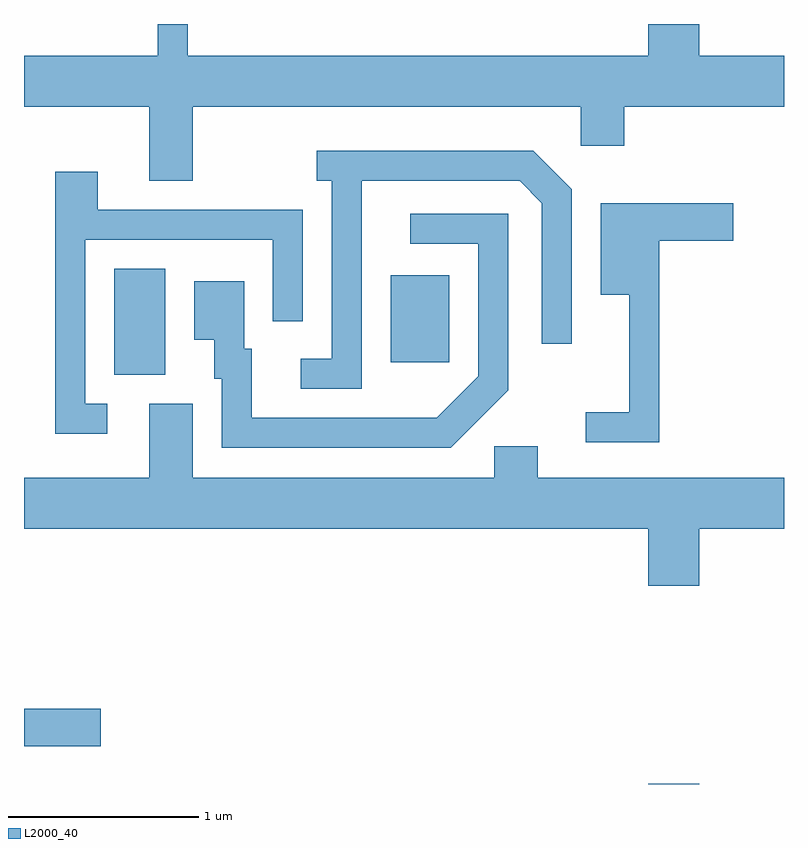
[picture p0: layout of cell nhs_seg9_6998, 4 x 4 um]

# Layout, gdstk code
import gdstk
lib = gdstk.Library(unit=1e-6, precision=1e-09)
def R(c, l, rs):  # rectangles x0, y0, x1, y1
    for r in rs: c.add(gdstk.rectangle(r[:2], r[2:], *l))
def P(c, l, *ps):  # polygons
    for p in ps: c.add(gdstk.Polygon(p, *l))
L2000_40 = (2000, 40)

nhs_seg9_6998 = lib.new_cell('nhs_seg9_6998')
R(nhs_seg9_6998, L2000_40, [(394.896,2030.432,395.164,2030.434), (391.611,2030.631,392.014,2030.829), (392.086,2032.586,392.354,2033.144), (393.541,2032.651,393.849,2033.109)])
P(nhs_seg9_6998, L2000_40, [(392.499,2033.996),(394.541,2033.996),(394.541,2033.791),(394.769,2033.791),(394.769,2033.996),(395.611,2033.996),(395.611,2034.264),(395.164,2034.264),(395.164,2034.432),(394.896,2034.432),(394.896,2034.264),(392.474,2034.264),(392.474,2034.432),(392.316,2034.432),(392.316,2034.264),(391.611,2034.264),(391.611,2033.996),(392.271,2033.996),(392.271,2033.606),(392.499,2033.606)],
  [(393.389,2033.606),(394.219,2033.606),(394.336,2033.489),(394.336,2032.748),(394.494,2032.748),(394.494,2033.562),(394.292,2033.764),(393.153,2033.764),(393.153,2033.606),(393.231,2033.606),(393.231,2032.669),(393.068,2032.669),(393.068,2032.511),(393.389,2032.511)],
  [(392.048,2032.434),(391.934,2032.434),(391.934,2033.296),(392.921,2033.296),(392.921,2032.868),(393.079,2032.868),(393.079,2033.454),(391.999,2033.454),(391.999,2033.654),(391.776,2033.654),(391.776,2032.276),(392.048,2032.276)],
  [(394.954,2033.291),(395.344,2033.291),(395.344,2033.489),(394.646,2033.489),(394.646,2033.006),(394.796,2033.006),(394.796,2032.389),(394.568,2032.389),(394.568,2032.231),(394.954,2032.231)],
  [(394.159,2032.504),(394.159,2033.434),(393.643,2033.434),(393.643,2033.276),(394.001,2033.276),(394.001,2032.577),(393.784,2032.359),(392.809,2032.359),(392.809,2032.724),(392.769,2032.724),(392.769,2033.079),(392.506,2033.079),(392.506,2032.771),(392.611,2032.771),(392.611,2032.566),(392.651,2032.566),(392.651,2032.201),(393.857,2032.201)],
  [(395.164,2031.776),(395.611,2031.776),(395.611,2032.044),(394.314,2032.044),(394.314,2032.209),(394.086,2032.209),(394.086,2032.044),(392.499,2032.044),(392.499,2032.434),(392.271,2032.434),(392.271,2032.044),(391.611,2032.044),(391.611,2031.776),(394.896,2031.776),(394.896,2031.476),(395.164,2031.476)])

lib.write_gds('nhs_seg9_6998.gds')
